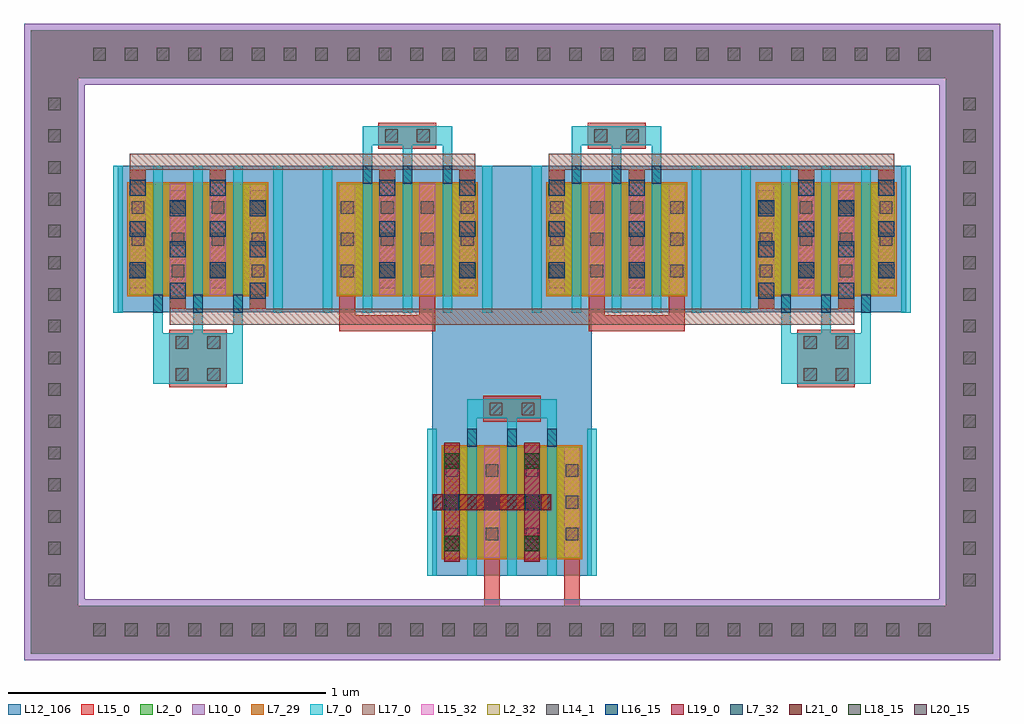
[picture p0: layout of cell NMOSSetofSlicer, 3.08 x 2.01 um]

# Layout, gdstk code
import gdstk
lib = gdstk.Library(unit=1e-6, precision=1e-09)
def R(c, l, rs):  # rectangles x0, y0, x1, y1
    for r in rs: c.add(gdstk.rectangle(r[:2], r[2:], *l))
def A(c, l, x, y, w, h, nx, ny, dx, dy):  # array of equal rectangles
    R(c, l, [(x+i*dx, y+j*dy, x+i*dx+w, y+j*dy+h) for i in range(nx) for j in range(ny)])
L2_0 = (2, 0)
L2_32 = (2, 32)
L7_0 = (7, 0)
L7_29 = (7, 29)
L7_32 = (7, 32)
L10_0 = (10, 0)
L12_106 = (12, 106)
L14_1 = (14, 1)
L15_0 = (15, 0)
L15_32 = (15, 32)
L16_15 = (16, 15)
L17_0 = (17, 0)
L18_15 = (18, 15)
L19_0 = (19, 0)
L20_15 = (20, 15)
L21_0 = (21, 0)

nmossetofslicer_nmos1 = lib.new_cell('NMOSSetofSlicer:NMOS1')
R(nmossetofslicer_nmos1, L2_0, [(-0.217,-0.175,0.217,0.175)])
R(nmossetofslicer_nmos1, L2_32, [(-0.217,-0.175,-0.141,0.175), (0.141,-0.175,0.217,0.175)])
A(nmossetofslicer_nmos1, L7_0, -0.267, -0.232, 0.03, 0.464, 5, 1, 0.126, 0)
R(nmossetofslicer_nmos1, L7_29, [(-0.222,-0.18,0.222,0.18)])
A(nmossetofslicer_nmos1, L7_32, -0.141, -0.232, 0.03, 0.057, 3, 1, 0.126, 0)
R(nmossetofslicer_nmos1, L12_106, [(-0.252,-0.231,0.252,0.231)])
A(nmossetofslicer_nmos1, L14_1, -0.209, -0.12, 0.04, 0.04, 4, 3, 0.126, 0.1)
A(nmossetofslicer_nmos1, L15_0, -0.214, -0.175, 0.05, 0.35, 4, 1, 0.126, 0)
A(nmossetofslicer_nmos1, L15_32, -0.214, -0.175, 0.05, 0.35, 4, 1, 0.126, 0)

nmossetofslicer_nmos2 = lib.new_cell('NMOSSetofSlicer:NMOS2')
R(nmossetofslicer_nmos2, L2_0, [(-0.217,-0.175,0.217,0.175)])
R(nmossetofslicer_nmos2, L2_32, [(-0.217,-0.175,-0.141,0.175), (0.141,-0.175,0.217,0.175)])
A(nmossetofslicer_nmos2, L7_0, -0.267, -0.232, 0.03, 0.464, 5, 1, 0.126, 0)
R(nmossetofslicer_nmos2, L7_29, [(-0.222,-0.18,0.222,0.18)])
A(nmossetofslicer_nmos2, L7_32, -0.141, -0.232, 0.03, 0.057, 3, 1, 0.126, 0)
R(nmossetofslicer_nmos2, L12_106, [(-0.252,-0.231,0.252,0.231)])
A(nmossetofslicer_nmos2, L14_1, -0.209, -0.12, 0.04, 0.04, 4, 3, 0.126, 0.1)
A(nmossetofslicer_nmos2, L15_0, -0.214, -0.175, 0.05, 0.35, 4, 1, 0.126, 0)
A(nmossetofslicer_nmos2, L15_32, -0.214, -0.175, 0.05, 0.35, 4, 1, 0.126, 0)

nmossetofslicer_nmos3 = lib.new_cell('NMOSSetofSlicer:NMOS3')
R(nmossetofslicer_nmos3, L2_0, [(-0.217,-0.175,0.217,0.175)])
R(nmossetofslicer_nmos3, L2_32, [(-0.217,-0.175,-0.141,0.175), (0.141,-0.175,0.217,0.175)])
A(nmossetofslicer_nmos3, L7_0, -0.267, -0.232, 0.03, 0.464, 5, 1, 0.126, 0)
R(nmossetofslicer_nmos3, L7_29, [(-0.222,-0.18,0.222,0.18)])
A(nmossetofslicer_nmos3, L7_32, -0.141, -0.232, 0.03, 0.057, 3, 1, 0.126, 0)
R(nmossetofslicer_nmos3, L12_106, [(-0.252,-0.231,0.252,0.231)])
A(nmossetofslicer_nmos3, L14_1, -0.209, -0.12, 0.04, 0.04, 4, 3, 0.126, 0.1)
A(nmossetofslicer_nmos3, L15_0, -0.214, -0.175, 0.05, 0.35, 4, 1, 0.126, 0)
A(nmossetofslicer_nmos3, L15_32, -0.214, -0.175, 0.05, 0.35, 4, 1, 0.126, 0)

nmossetofslicer_nmos4 = lib.new_cell('NMOSSetofSlicer:NMOS4')
R(nmossetofslicer_nmos4, L2_0, [(-0.217,-0.175,0.217,0.175)])
R(nmossetofslicer_nmos4, L2_32, [(-0.217,-0.175,-0.141,0.175), (0.141,-0.175,0.217,0.175)])
A(nmossetofslicer_nmos4, L7_0, -0.267, -0.232, 0.03, 0.464, 5, 1, 0.126, 0)
R(nmossetofslicer_nmos4, L7_29, [(-0.222,-0.18,0.222,0.18)])
A(nmossetofslicer_nmos4, L7_32, -0.141, -0.232, 0.03, 0.057, 3, 1, 0.126, 0)
R(nmossetofslicer_nmos4, L12_106, [(-0.252,-0.231,0.252,0.231)])
A(nmossetofslicer_nmos4, L14_1, -0.209, -0.12, 0.04, 0.04, 4, 3, 0.126, 0.1)
A(nmossetofslicer_nmos4, L15_0, -0.214, -0.175, 0.05, 0.35, 4, 1, 0.126, 0)
A(nmossetofslicer_nmos4, L15_32, -0.214, -0.175, 0.05, 0.35, 4, 1, 0.126, 0)

nmossetofslicer_nmos5 = lib.new_cell('NMOSSetofSlicer:NMOS5')
R(nmossetofslicer_nmos5, L2_0, [(-0.217,-0.175,0.217,0.175)])
R(nmossetofslicer_nmos5, L2_32, [(-0.217,-0.175,-0.141,0.175), (0.141,-0.175,0.217,0.175)])
A(nmossetofslicer_nmos5, L7_0, -0.267, -0.232, 0.03, 0.464, 5, 1, 0.126, 0)
R(nmossetofslicer_nmos5, L7_29, [(-0.222,-0.18,0.222,0.18)])
A(nmossetofslicer_nmos5, L7_32, -0.141, -0.232, 0.03, 0.057, 3, 1, 0.126, 0)
R(nmossetofslicer_nmos5, L12_106, [(-0.252,-0.231,0.252,0.231)])
A(nmossetofslicer_nmos5, L14_1, -0.209, -0.12, 0.04, 0.04, 4, 3, 0.126, 0.1)
A(nmossetofslicer_nmos5, L15_0, -0.214, -0.175, 0.05, 0.35, 4, 1, 0.126, 0)
A(nmossetofslicer_nmos5, L15_32, -0.214, -0.175, 0.05, 0.35, 4, 1, 0.126, 0)

nmossetofslicer_viapoly2 = lib.new_cell('NMOSSetofSlicer:ViaPoly2Met1OnNMOSGate1')
R(nmossetofslicer_viapoly2, L7_0, [(-0.08,-0.08,0.08,0.08)])
R(nmossetofslicer_viapoly2, L14_1, [(-0.07,-0.07,-0.03,-0.03), (0.03,-0.07,0.07,-0.03), (-0.07,0.03,-0.03,0.07), (0.03,0.03,0.07,0.07)])
R(nmossetofslicer_viapoly2, L15_0, [(-0.091,-0.091,0.091,0.091)])

c_nmossetofslicer_viapoly2 = lib.new_cell('NMOSSetofSlicer:ViaPoly2Met1OnNMOSGate2')
R(c_nmossetofslicer_viapoly2, L7_0, [(-0.08,-0.08,0.08,0.08)])
R(c_nmossetofslicer_viapoly2, L14_1, [(-0.07,-0.07,-0.03,-0.03), (0.03,-0.07,0.07,-0.03), (-0.07,0.03,-0.03,0.07), (0.03,0.03,0.07,0.07)])
R(c_nmossetofslicer_viapoly2, L15_0, [(-0.091,-0.091,0.091,0.091)])

c_nmossetofslicer_viapoly2_ = lib.new_cell('NMOSSetofSlicer:ViaPoly2Met1OnNMOSGate3')
R(c_nmossetofslicer_viapoly2_, L7_0, [(-0.08,-0.03,0.08,0.03)])
R(c_nmossetofslicer_viapoly2_, L14_1, [(-0.07,-0.02,-0.03,0.02), (0.03,-0.02,0.07,0.02)])
R(c_nmossetofslicer_viapoly2_, L15_0, [(-0.091,-0.041,0.091,0.041)])

c_nmossetofslicer_viapoly2__ = lib.new_cell('NMOSSetofSlicer:ViaPoly2Met1OnNMOSGate4')
R(c_nmossetofslicer_viapoly2__, L7_0, [(-0.08,-0.03,0.08,0.03)])
R(c_nmossetofslicer_viapoly2__, L14_1, [(-0.07,-0.02,-0.03,0.02), (0.03,-0.02,0.07,0.02)])
R(c_nmossetofslicer_viapoly2__, L15_0, [(-0.091,-0.041,0.091,0.041)])

c_nmossetofslicer_viapoly2___ = lib.new_cell('NMOSSetofSlicer:ViaPoly2Met1OnNMOSGate5')
R(c_nmossetofslicer_viapoly2___, L7_0, [(-0.08,-0.03,0.08,0.03)])
R(c_nmossetofslicer_viapoly2___, L14_1, [(-0.07,-0.02,-0.03,0.02), (0.03,-0.02,0.07,0.02)])
R(c_nmossetofslicer_viapoly2___, L15_0, [(-0.091,-0.041,0.091,0.041)])

nmossetofslicer_viamet12 = lib.new_cell('NMOSSetofSlicer:ViaMet12Met2OnPMOSOutput1')
R(nmossetofslicer_viamet12, L15_0, [(-0.025,-0.187,0.025,0.187)])
A(nmossetofslicer_viamet12, L16_15, -0.025, -0.155, 0.05, 0.05, 1, 3, 0, 0.13)
R(nmossetofslicer_viamet12, L17_0, [(-0.025,-0.187,0.025,0.187)])

c_nmossetofslicer_viamet12 = lib.new_cell('NMOSSetofSlicer:ViaMet12Met2OnPMOSOutput3')
R(c_nmossetofslicer_viamet12, L15_0, [(-0.025,-0.187,0.025,0.187)])
A(c_nmossetofslicer_viamet12, L16_15, -0.025, -0.155, 0.05, 0.05, 1, 3, 0, 0.13)
R(c_nmossetofslicer_viamet12, L17_0, [(-0.025,-0.187,0.025,0.187)])

c_nmossetofslicer_viamet12_ = lib.new_cell('NMOSSetofSlicer:ViaMet12Met2OnPMOSOutput5')
R(c_nmossetofslicer_viamet12_, L15_0, [(-0.025,-0.187,0.025,0.187)])
A(c_nmossetofslicer_viamet12_, L16_15, -0.025, -0.155, 0.05, 0.05, 1, 3, 0, 0.13)
R(c_nmossetofslicer_viamet12_, L17_0, [(-0.025,-0.187,0.025,0.187)])

nmossetofslicer_viamet22 = lib.new_cell('NMOSSetofSlicer:ViaMet22Met3OnPMOSOutput5')
R(nmossetofslicer_viamet22, L17_0, [(-0.025,-0.187,0.025,0.187)])
A(nmossetofslicer_viamet22, L18_15, -0.025, -0.155, 0.05, 0.05, 1, 3, 0, 0.13)
R(nmossetofslicer_viamet22, L19_0, [(-0.025,-0.187,0.025,0.187)])

nmossetofslicer_guardrin = lib.new_cell('NMOSSetofSlicer:Guardring')
R(nmossetofslicer_guardrin, L2_0, [(-1.517,-0.982,1.517,-0.832), (-1.517,-0.982,-1.367,0.982), (1.367,-0.982,1.517,0.982), (-1.517,0.832,1.517,0.982)])
A(nmossetofslicer_guardrin, L14_1, -1.32, -0.927, 0.04, 0.04, 27, 2, 0.1, 1.814)
A(nmossetofslicer_guardrin, L14_1, -1.462, -0.77, 0.04, 0.04, 1, 16, 0, 0.1)
A(nmossetofslicer_guardrin, L14_1, 1.422, -0.77, 0.04, 0.04, 1, 16, 0, 0.1)
R(nmossetofslicer_guardrin, L15_0, [(-1.517,-0.982,1.517,-0.832), (-1.517,-0.982,-1.367,0.982), (1.367,-0.982,1.517,0.982), (-1.517,0.832,1.517,0.982)])
nmossetofslicer_guardrin.add(gdstk.FlexPath([(1.442,1.003),(1.442,-0.907),(-1.442,-0.907),(-1.442,0.907),(1.538,0.907)], 0.192, ends="flush", simple_path=True, layer=10, datatype=0))  # L10_0

nmossetofslicer_viamet32 = lib.new_cell('NMOSSetofSlicer:ViaMet32Met4OnNMOSOutput5')
R(nmossetofslicer_viamet32, L19_0, [(-0.187,-0.025,0.187,0.025)])
A(nmossetofslicer_viamet32, L20_15, -0.155, -0.025, 0.05, 0.05, 3, 1, 0.13, 0)
R(nmossetofslicer_viamet32, L21_0, [(-0.187,-0.025,0.187,0.025)])

nmossetofslicer = lib.new_cell('NMOSSetofSlicer')
R(nmossetofslicer, L12_106, [(-0.99,-0.231,0.99,0.231)])
nmossetofslicer.add(gdstk.FlexPath([(-0.849,-0.376),(-1.131,-0.376)], 0.16, ends="flush", simple_path=True, layer=7, datatype=0))  # L7_0
nmossetofslicer.add(gdstk.FlexPath([(1.131,-0.376),(0.849,-0.376)], 0.16, ends="flush", simple_path=True, layer=7, datatype=0))  # L7_0
nmossetofslicer.add(gdstk.FlexPath([(-0.189,0.326),(-0.471,0.326)], 0.06, ends="flush", simple_path=True, layer=7, datatype=0))  # L7_0
nmossetofslicer.add(gdstk.FlexPath([(0.471,0.326),(0.189,0.326)], 0.06, ends="flush", simple_path=True, layer=7, datatype=0))  # L7_0
nmossetofslicer.add(gdstk.FlexPath([(0.141,-0.535),(-0.141,-0.535)], 0.06, ends="flush", simple_path=True, layer=7, datatype=0))  # L7_0
nmossetofslicer.add(gdstk.FlexPath([(-1.116,0),(-1.116,-0.376)], 0.03, ends="flush", simple_path=True, layer=7, datatype=0))  # L7_0
nmossetofslicer.add(gdstk.FlexPath([(-0.99,0),(-0.99,-0.376)], 0.03, ends="flush", simple_path=True, layer=7, datatype=0))  # L7_0
nmossetofslicer.add(gdstk.FlexPath([(-0.864,0),(-0.864,-0.376)], 0.03, ends="flush", simple_path=True, layer=7, datatype=0))  # L7_0
nmossetofslicer.add(gdstk.FlexPath([(0.864,0),(0.864,-0.376)], 0.03, ends="flush", simple_path=True, layer=7, datatype=0))  # L7_0
nmossetofslicer.add(gdstk.FlexPath([(0.99,0),(0.99,-0.376)], 0.03, ends="flush", simple_path=True, layer=7, datatype=0))  # L7_0
nmossetofslicer.add(gdstk.FlexPath([(1.116,0),(1.116,-0.376)], 0.03, ends="flush", simple_path=True, layer=7, datatype=0))  # L7_0
nmossetofslicer.add(gdstk.FlexPath([(-0.456,0),(-0.456,0.326)], 0.03, ends="flush", simple_path=True, layer=7, datatype=0))  # L7_0
nmossetofslicer.add(gdstk.FlexPath([(-0.33,0),(-0.33,0.326)], 0.03, ends="flush", simple_path=True, layer=7, datatype=0))  # L7_0
nmossetofslicer.add(gdstk.FlexPath([(-0.204,0),(-0.204,0.326)], 0.03, ends="flush", simple_path=True, layer=7, datatype=0))  # L7_0
nmossetofslicer.add(gdstk.FlexPath([(0.204,0),(0.204,0.326)], 0.03, ends="flush", simple_path=True, layer=7, datatype=0))  # L7_0
nmossetofslicer.add(gdstk.FlexPath([(0.33,0),(0.33,0.326)], 0.03, ends="flush", simple_path=True, layer=7, datatype=0))  # L7_0
nmossetofslicer.add(gdstk.FlexPath([(0.456,0),(0.456,0.326)], 0.03, ends="flush", simple_path=True, layer=7, datatype=0))  # L7_0
nmossetofslicer.add(gdstk.FlexPath([(-0.126,-0.829),(-0.126,-0.535)], 0.03, ends="flush", simple_path=True, layer=7, datatype=0))  # L7_0
nmossetofslicer.add(gdstk.FlexPath([(0,-0.829),(0,-0.535)], 0.03, ends="flush", simple_path=True, layer=7, datatype=0))  # L7_0
nmossetofslicer.add(gdstk.FlexPath([(0.126,-0.829),(0.126,-0.535)], 0.03, ends="flush", simple_path=True, layer=7, datatype=0))  # L7_0
nmossetofslicer.add(gdstk.FlexPath([(-0.063,-1.231),(-0.063,-1.004)], 0.05, ends="flush", simple_path=True, layer=15, datatype=0))  # L15_0
nmossetofslicer.add(gdstk.FlexPath([(0.189,-1.231),(0.189,-1.004)], 0.05, ends="flush", simple_path=True, layer=15, datatype=0))  # L15_0
nmossetofslicer.add(gdstk.FlexPath([(-0.544,-0.265),(-0.242,-0.265)], 0.05, ends="flush", simple_path=True, layer=15, datatype=0))  # L15_0
nmossetofslicer.add(gdstk.FlexPath([(0.544,-0.265),(0.242,-0.265)], 0.05, ends="flush", simple_path=True, layer=15, datatype=0))  # L15_0
nmossetofslicer.add(gdstk.FlexPath([(-0.519,0),(-0.519,-0.265)], 0.05, ends="flush", simple_path=True, layer=15, datatype=0))  # L15_0
nmossetofslicer.add(gdstk.FlexPath([(0.519,0),(0.519,-0.265)], 0.05, ends="flush", simple_path=True, layer=15, datatype=0))  # L15_0
nmossetofslicer.add(gdstk.FlexPath([(-0.267,0),(-0.267,-0.265)], 0.05, ends="flush", simple_path=True, layer=15, datatype=0))  # L15_0
nmossetofslicer.add(gdstk.FlexPath([(0.267,0),(0.267,-0.265)], 0.05, ends="flush", simple_path=True, layer=15, datatype=0))  # L15_0
nmossetofslicer.add(gdstk.FlexPath([(-0.393,0.032),(-0.393,0.244)], 0.05, ends="flush", simple_path=True, layer=17, datatype=0))  # L17_0
nmossetofslicer.add(gdstk.FlexPath([(0.393,0.032),(0.393,0.244)], 0.05, ends="flush", simple_path=True, layer=17, datatype=0))  # L17_0
nmossetofslicer.add(gdstk.FlexPath([(-0.141,0.032),(-0.141,0.244)], 0.05, ends="flush", simple_path=True, layer=17, datatype=0))  # L17_0
nmossetofslicer.add(gdstk.FlexPath([(0.141,0.032),(0.141,0.244)], 0.05, ends="flush", simple_path=True, layer=17, datatype=0))  # L17_0
nmossetofslicer.add(gdstk.FlexPath([(-0.189,-0.829),(0.063,-0.829)], 0.05, ends="flush", simple_path=True, layer=17, datatype=0))  # L17_0
nmossetofslicer.add(gdstk.FlexPath([(-1.204,0.244),(-0.116,0.244)], 0.05, ends="flush", simple_path=True, layer=17, datatype=0))  # L17_0
nmossetofslicer.add(gdstk.FlexPath([(1.204,0.244),(0.116,0.244)], 0.05, ends="flush", simple_path=True, layer=17, datatype=0))  # L17_0
nmossetofslicer.add(gdstk.FlexPath([(-1.078,-0.244),(1.078,-0.244)], 0.05, ends="flush", simple_path=True, layer=17, datatype=0))  # L17_0
nmossetofslicer.add(gdstk.FlexPath([(0,-0.829),(0,0.231)], 0.504, ends="flush", simple_path=True, layer=12, datatype=106))  # L12_106
nmossetofslicer.add(gdstk.FlexPath([(-0.189,-0.829),(0.063,-0.829)], 0.05, ends="flush", simple_path=True, layer=19, datatype=0))  # L19_0
nmossetofslicer.add(gdstk.Reference(nmossetofslicer_nmos1, (-0.99,0)))
nmossetofslicer.add(gdstk.Reference(nmossetofslicer_nmos2, (0.99,0)))
nmossetofslicer.add(gdstk.Reference(nmossetofslicer_nmos3, (-0.33,0), x_reflection=True))
nmossetofslicer.add(gdstk.Reference(nmossetofslicer_nmos4, (0.33,0), x_reflection=True))
nmossetofslicer.add(gdstk.Reference(nmossetofslicer_nmos5, (0,-0.829), x_reflection=True))
nmossetofslicer.add(gdstk.Reference(nmossetofslicer_viapoly2, (-0.99,-0.376)))
nmossetofslicer.add(gdstk.Reference(c_nmossetofslicer_viapoly2, (0.99,-0.376)))
nmossetofslicer.add(gdstk.Reference(c_nmossetofslicer_viapoly2_, (-0.33,0.326)))
nmossetofslicer.add(gdstk.Reference(c_nmossetofslicer_viapoly2__, (0.33,0.326)))
nmossetofslicer.add(gdstk.Reference(c_nmossetofslicer_viapoly2___, (0,-0.535)))
nmossetofslicer.add(gdstk.Reference(nmossetofslicer_viamet12, (-1.179,0.032)))
nmossetofslicer.add(gdstk.Reference(nmossetofslicer_viamet12, (0.927,0.032)))
nmossetofslicer.add(gdstk.Reference(nmossetofslicer_viamet12, (-0.927,0.032)))
nmossetofslicer.add(gdstk.Reference(nmossetofslicer_viamet12, (1.179,0.032)))
nmossetofslicer.add(gdstk.Reference(nmossetofslicer_viamet12, (-1.053,-0.032)))
nmossetofslicer.add(gdstk.Reference(nmossetofslicer_viamet12, (0.801,-0.032)))
nmossetofslicer.add(gdstk.Reference(nmossetofslicer_viamet12, (-0.801,-0.032)))
nmossetofslicer.add(gdstk.Reference(nmossetofslicer_viamet12, (1.053,-0.032)))
nmossetofslicer.add(gdstk.Reference(c_nmossetofslicer_viamet12, (-0.393,0.032)))
nmossetofslicer.add(gdstk.Reference(c_nmossetofslicer_viamet12, (0.393,0.032)))
nmossetofslicer.add(gdstk.Reference(c_nmossetofslicer_viamet12, (-0.141,0.032)))
nmossetofslicer.add(gdstk.Reference(c_nmossetofslicer_viamet12, (0.141,0.032)))
nmossetofslicer.add(gdstk.Reference(c_nmossetofslicer_viamet12_, (-0.189,-0.829)))
nmossetofslicer.add(gdstk.Reference(c_nmossetofslicer_viamet12_, (0.063,-0.829)))
nmossetofslicer.add(gdstk.Reference(nmossetofslicer_viamet22, (-0.189,-0.829)))
nmossetofslicer.add(gdstk.Reference(nmossetofslicer_viamet22, (0.063,-0.829)))
nmossetofslicer.add(gdstk.Reference(nmossetofslicer_guardrin, (0,-0.324)))
nmossetofslicer.add(gdstk.Reference(nmossetofslicer_viamet32, (-0.063,-0.829)))

lib.write_gds('NMOSSetofSlicer.gds')
